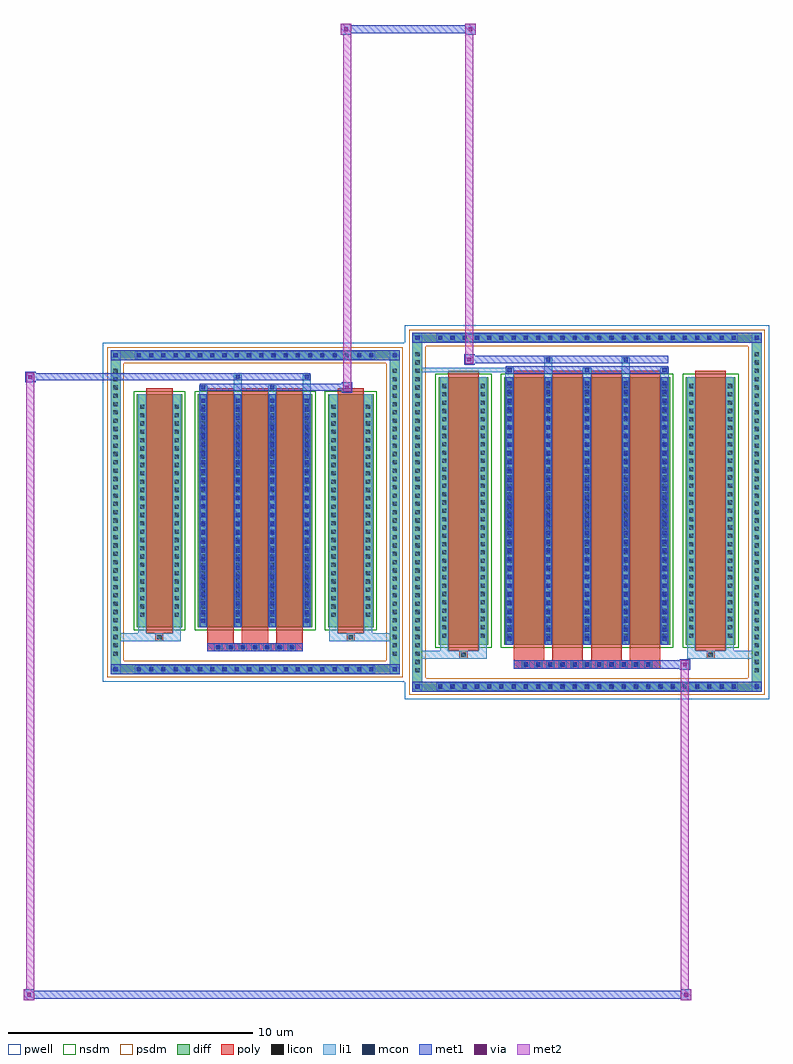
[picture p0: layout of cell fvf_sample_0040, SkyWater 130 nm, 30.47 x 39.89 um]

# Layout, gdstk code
import gdstk
lib = gdstk.Library(unit=1e-6, precision=1e-09)
def R(c, l, rs):  # rectangles x0, y0, x1, y1
    for r in rs: c.add(gdstk.rectangle(r[:2], r[2:], *l))
def A(c, l, x, y, w, h, nx, ny, dx, dy):  # array of equal rectangles
    R(c, l, [(x+i*dx, y+j*dy, x+i*dx+w, y+j*dy+h) for i in range(nx) for j in range(ny)])
def P(c, l, *ps):  # polygons
    for p in ps: c.add(gdstk.Polygon(p, *l))
pwell = (64, 44)
diff = (65, 20)
poly = (66, 20)
licon = (66, 44)
li1 = (67, 20)
mcon = (67, 44)
met1 = (68, 20)
via = (68, 44)
met2 = (69, 20)
nsdm = (93, 44)
psdm = (94, 20)

fvf_sample_0040 = lib.new_cell('fvf_sample_0040')
R(fvf_sample_0040, pwell, [(6.12,-7.64,21.014,7.64), (-6.22,-6.93,6.22,6.93)])
A(fvf_sample_0040, diff, 7.362, -7.33, 0.41, 0.41, 25, 2, 0.5, 14.25)
A(fvf_sample_0040, diff, 6.43, -6.665, 0.41, 0.41, 1, 39, 0, 0.34)
A(fvf_sample_0040, diff, 20.294, -6.665, 0.41, 0.41, 1, 39, 0, 0.34)
A(fvf_sample_0040, diff, -4.955, -6.62, 0.41, 0.41, 20, 2, 0.5, 12.83)
A(fvf_sample_0040, diff, -5.91, -5.985, 0.41, 0.41, 1, 35, 0, 0.34)
A(fvf_sample_0040, diff, 5.5, -5.985, 0.41, 0.41, 1, 35, 0, 0.34)
R(fvf_sample_0040, diff, [(7.362,-7.33,19.772,-6.92), (6.43,-6.665,6.84,6.665), (20.294,-6.665,20.704,6.665), (-4.955,-6.62,4.955,-6.21), (-5.91,-5.985,-5.5,5.985), (5.5,-5.985,5.91,5.985), (7.5,-5.408,9.534,5.524), (10.174,-5.408,16.96,5.524), (17.6,-5.408,19.634,5.524), (-4.84,-4.698,-2.98,4.814), (-2.34,-4.698,2.34,4.814), (2.98,-4.698,4.84,4.814), (-4.955,6.21,4.955,6.62), (7.362,6.92,19.772,7.33)])
P(fvf_sample_0040, diff, [(5.91,6.62),(-5.91,6.62),(-5.91,-6.21),(-5.5,-6.21),(-5.5,6.21),(5.5,6.21),(5.5,-6.21),(-5.5,-6.21),(-5.91,-6.21),(-5.91,-6.62),(5.91,-6.62)],
  [(20.704,7.33),(6.43,7.33),(6.43,-6.92),(6.84,-6.92),(6.84,6.92),(20.294,6.92),(20.294,-6.92),(6.84,-6.92),(6.43,-6.92),(6.43,-7.33),(20.704,-7.33)])
A(fvf_sample_0040, poly, 10.902, -6.39, 0.33, 0.33, 11, 1, 0.5, 0)
A(fvf_sample_0040, poly, 10.564, -6.06, 1.254, 0.402, 4, 1, 1.584, 0)
A(fvf_sample_0040, poly, -1.665, -5.68, 0.33, 0.33, 7, 1, 0.5, 0)
A(fvf_sample_0040, poly, 10.564, -5.658, 1.254, 11.432, 4, 1, 1.584, 0)
A(fvf_sample_0040, poly, -1.95, -5.35, 1.08, 0.402, 3, 1, 1.41, 0)
A(fvf_sample_0040, poly, -1.95, -4.948, 1.08, 10.012, 3, 1, 1.41, 0)
R(fvf_sample_0040, poly, [(10.564,-6.39,16.57,-6.06), (8.352,-5.988,8.682,-5.658), (8.352,-5.988,8.682,-5.658), (18.452,-5.988,18.782,-5.658), (18.452,-5.988,18.782,-5.658), (-1.95,-5.68,1.95,-5.35), (7.89,-5.658,9.144,5.774), (17.99,-5.658,19.244,5.774), (-4.075,-5.278,-3.745,-4.948), (-4.075,-5.278,-3.745,-4.948), (3.745,-5.278,4.075,-4.948), (3.745,-5.278,4.075,-4.948), (-4.45,-4.948,-3.37,5.064), (3.37,-4.948,4.45,5.064)])
A(fvf_sample_0040, licon, 7.482, -7.21, 0.17, 0.17, 25, 2, 0.5, 14.25)
A(fvf_sample_0040, licon, 6.55, -6.545, 0.17, 0.17, 1, 39, 0, 0.34)
A(fvf_sample_0040, licon, 20.414, -6.545, 0.17, 0.17, 1, 39, 0, 0.34)
A(fvf_sample_0040, licon, -4.835, -6.5, 0.17, 0.17, 20, 2, 0.5, 12.83)
A(fvf_sample_0040, licon, 10.982, -6.31, 0.17, 0.17, 11, 1, 0.5, 0)
A(fvf_sample_0040, licon, -5.79, -5.865, 0.17, 0.17, 1, 35, 0, 0.34)
A(fvf_sample_0040, licon, 5.62, -5.865, 0.17, 0.17, 1, 35, 0, 0.34)
A(fvf_sample_0040, licon, -1.585, -5.6, 0.17, 0.17, 7, 1, 0.5, 0)
A(fvf_sample_0040, licon, 7.64, -5.127, 0.17, 0.17, 1, 31, 0, 0.34)
A(fvf_sample_0040, licon, 9.224, -5.127, 0.17, 0.17, 1, 31, 0, 0.34)
A(fvf_sample_0040, licon, 10.314, -5.127, 0.17, 0.17, 5, 31, 1.584, 0.34)
A(fvf_sample_0040, licon, 17.74, -5.127, 0.17, 0.17, 1, 31, 0, 0.34)
A(fvf_sample_0040, licon, 19.324, -5.127, 0.17, 0.17, 1, 31, 0, 0.34)
A(fvf_sample_0040, licon, -4.7, -4.277, 0.17, 0.17, 1, 26, 0, 0.34)
A(fvf_sample_0040, licon, -3.29, -4.277, 0.17, 0.17, 1, 26, 0, 0.34)
A(fvf_sample_0040, licon, -2.2, -4.277, 0.17, 0.17, 4, 26, 1.41, 0.34)
A(fvf_sample_0040, licon, 3.12, -4.277, 0.17, 0.17, 1, 26, 0, 0.34)
A(fvf_sample_0040, licon, 4.53, -4.277, 0.17, 0.17, 1, 26, 0, 0.34)
R(fvf_sample_0040, licon, [(8.432,-5.908,8.602,-5.738), (18.532,-5.908,18.702,-5.738), (-3.995,-5.198,-3.825,-5.028), (3.825,-5.198,3.995,-5.028)])
A(fvf_sample_0040, li1, 7.402, -7.29, 0.33, 0.33, 25, 2, 0.5, 14.25)
A(fvf_sample_0040, li1, 6.47, -6.625, 0.33, 0.33, 1, 39, 0, 0.34)
A(fvf_sample_0040, li1, 20.334, -6.625, 0.33, 0.33, 1, 39, 0, 0.34)
A(fvf_sample_0040, li1, -4.915, -6.58, 0.33, 0.33, 20, 2, 0.5, 12.83)
A(fvf_sample_0040, li1, 10.902, -6.39, 0.33, 0.33, 11, 1, 0.5, 0)
A(fvf_sample_0040, li1, -5.87, -5.945, 0.33, 0.33, 1, 35, 0, 0.34)
A(fvf_sample_0040, li1, 5.54, -5.945, 0.33, 0.33, 1, 35, 0, 0.34)
A(fvf_sample_0040, li1, -1.665, -5.68, 0.33, 0.33, 7, 1, 0.5, 0)
A(fvf_sample_0040, li1, 10.234, -5.408, 0.33, 10.932, 5, 1, 1.584, 0)
A(fvf_sample_0040, li1, 10.314, -5.247, 0.17, 0.17, 5, 30, 1.584, 0.36)
A(fvf_sample_0040, li1, 10.314, -5.247, 0.17, 10.61, 5, 1, 1.584, 0)
A(fvf_sample_0040, li1, 7.56, -5.207, 0.33, 0.33, 1, 31, 0, 0.34)
A(fvf_sample_0040, li1, 9.144, -5.207, 0.33, 0.33, 1, 31, 0, 0.34)
A(fvf_sample_0040, li1, 10.234, -5.207, 0.33, 0.33, 5, 31, 1.584, 0.34)
A(fvf_sample_0040, li1, 17.66, -5.207, 0.33, 0.33, 1, 31, 0, 0.34)
A(fvf_sample_0040, li1, 19.244, -5.207, 0.33, 0.33, 1, 31, 0, 0.34)
A(fvf_sample_0040, li1, -2.28, -4.698, 0.33, 9.512, 4, 1, 1.41, 0)
A(fvf_sample_0040, li1, -2.2, -4.527, 0.17, 0.17, 4, 26, 1.41, 0.36)
A(fvf_sample_0040, li1, -2.2, -4.527, 0.17, 9.17, 4, 1, 1.41, 0)
A(fvf_sample_0040, li1, -4.78, -4.357, 0.33, 0.33, 1, 26, 0, 0.34)
A(fvf_sample_0040, li1, -3.37, -4.357, 0.33, 0.33, 1, 26, 0, 0.34)
A(fvf_sample_0040, li1, -2.28, -4.357, 0.33, 0.33, 4, 26, 1.41, 0.34)
A(fvf_sample_0040, li1, 3.04, -4.357, 0.33, 0.33, 1, 26, 0, 0.34)
A(fvf_sample_0040, li1, 4.45, -4.357, 0.33, 0.33, 1, 26, 0, 0.34)
A(fvf_sample_0040, li1, 10.234, 5.524, 0.33, 0.375, 3, 1, 3.168, 0)
A(fvf_sample_0040, li1, 10.314, 5.729, 0.17, 0.17, 3, 1, 3.168, 0)
R(fvf_sample_0040, li1, [(6.43,-7.33,6.84,-6.92), (20.294,-7.33,20.704,-6.92), (7.402,-7.29,19.732,-6.96), (6.55,-7.21,6.72,-7.04), (6.55,-7.21,6.72,-7.04), (20.414,-7.21,20.584,-7.04), (20.414,-7.21,20.584,-7.04), (6.43,-6.92,6.84,6.92), (20.294,-6.92,20.704,6.92), (-5.91,-6.62,-5.5,-6.21), (5.5,-6.62,5.91,-6.21), (-4.915,-6.58,4.915,-6.25), (-5.79,-6.5,-5.62,-6.33), (-5.79,-6.5,-5.62,-6.33), (5.62,-6.5,5.79,-6.33), (5.62,-6.5,5.79,-6.33), (-5.91,-6.21,-5.5,6.21), (5.5,-6.21,5.91,6.21), (6.43,-5.988,8.352,-5.658), (7.56,-5.988,7.89,-5.408), (7.56,-5.988,8.352,-5.658), (8.352,-5.988,8.682,-5.658), (8.682,-5.988,9.474,-5.658), (9.144,-5.988,9.474,-5.408), (17.66,-5.988,17.99,-5.408), (17.66,-5.988,18.452,-5.658), (18.452,-5.988,18.782,-5.658), (18.452,-5.988,20.704,-5.658), (18.782,-5.988,19.574,-5.658), (19.244,-5.988,19.574,-5.408), (7.56,-5.408,7.89,5.524), (9.144,-5.408,9.474,5.524), (17.66,-5.408,17.99,5.524), (19.244,-5.408,19.574,5.524), (-5.91,-5.278,-4.075,-4.948), (-4.78,-5.278,-4.075,-4.948), (-4.78,-5.278,-4.45,-4.698), (-4.075,-5.278,-3.745,-4.948), (-3.745,-5.278,-3.04,-4.948), (-3.37,-5.278,-3.04,-4.698), (3.04,-5.278,3.745,-4.948), (3.04,-5.278,3.37,-4.698), (3.745,-5.278,4.075,-4.948), (3.745,-5.278,5.91,-4.948), (4.075,-5.278,4.78,-4.948), (4.45,-5.278,4.78,-4.698), (-4.78,-4.698,-4.45,4.814), (-3.37,-4.698,-3.04,4.814), (3.04,-4.698,3.37,4.814), (4.45,-4.698,4.78,4.814), (-2.28,4.814,-1.95,5.189), (-0.87,4.814,-0.54,5.619), (0.54,4.814,0.87,5.189), (1.95,4.814,2.28,5.619), (-2.2,5.019,-2.03,5.189), (0.62,5.019,0.79,5.189), (-0.79,5.449,-0.62,5.619), (2.03,5.449,2.2,5.619), (11.818,5.524,12.148,6.329), (14.986,5.524,15.316,6.329), (10.254,5.669,10.544,5.959), (6.43,5.714,10.254,5.914), (10.314,5.729,10.484,5.899), (11.898,6.159,12.068,6.329), (15.066,6.159,15.236,6.329), (-5.91,6.21,-5.5,6.62), (5.5,6.21,5.91,6.62), (-4.915,6.25,4.915,6.58), (-5.79,6.33,-5.62,6.5), (-5.79,6.33,-5.62,6.5), (5.62,6.33,5.79,6.5), (5.62,6.33,5.79,6.5), (6.43,6.92,6.84,7.33), (20.294,6.92,20.704,7.33), (7.402,6.96,19.732,7.29), (6.55,7.04,6.72,7.21), (6.55,7.04,6.72,7.21), (20.414,7.04,20.584,7.21), (20.414,7.04,20.584,7.21)])
A(fvf_sample_0040, mcon, 7.482, -7.21, 0.17, 0.17, 25, 2, 0.5, 14.25)
A(fvf_sample_0040, mcon, -4.835, -6.5, 0.17, 0.17, 20, 2, 0.5, 12.83)
A(fvf_sample_0040, mcon, 10.982, -6.31, 0.17, 0.17, 11, 1, 0.5, 0)
A(fvf_sample_0040, mcon, -1.585, -5.6, 0.17, 0.17, 7, 1, 0.5, 0)
A(fvf_sample_0040, mcon, 10.314, -5.247, 0.17, 0.17, 5, 30, 1.584, 0.36)
A(fvf_sample_0040, mcon, -2.2, -4.527, 0.17, 0.17, 4, 26, 1.41, 0.36)
A(fvf_sample_0040, mcon, 10.314, 5.729, 0.17, 0.17, 3, 1, 3.168, 0)
R(fvf_sample_0040, mcon, [(6.55,-7.21,6.72,-7.04), (20.414,-7.21,20.584,-7.04), (-5.79,-6.5,-5.62,-6.33), (5.62,-6.5,5.79,-6.33), (-2.2,5.019,-2.03,5.189), (0.62,5.019,0.79,5.189), (-0.79,5.449,-0.62,5.619), (2.03,5.449,2.2,5.619), (10.314,5.729,10.484,5.899), (11.898,6.159,12.068,6.329), (15.066,6.159,15.236,6.329), (-5.79,6.33,-5.62,6.5), (5.62,6.33,5.79,6.5), (6.55,7.04,6.72,7.21), (20.414,7.04,20.584,7.21)])
A(fvf_sample_0040, met1, 7.422, -7.27, 0.29, 0.29, 25, 2, 0.5, 14.25)
A(fvf_sample_0040, met1, -4.895, -6.56, 0.29, 0.29, 20, 2, 0.5, 12.83)
A(fvf_sample_0040, met1, 10.922, -6.37, 0.29, 0.29, 11, 1, 0.5, 0)
A(fvf_sample_0040, met1, -1.645, -5.66, 0.29, 0.29, 7, 1, 0.5, 0)
A(fvf_sample_0040, met1, 10.254, -5.408, 0.29, 10.932, 5, 1, 1.584, 0)
A(fvf_sample_0040, met1, 10.254, -5.307, 0.29, 0.29, 5, 30, 1.584, 0.36)
A(fvf_sample_0040, met1, -2.26, -4.698, 0.29, 9.512, 4, 1, 1.41, 0)
A(fvf_sample_0040, met1, -2.26, -4.587, 0.29, 0.29, 4, 26, 1.41, 0.36)
A(fvf_sample_0040, met1, 10.254, 5.669, 0.29, 0.29, 3, 1, 3.168, 0)
R(fvf_sample_0040, met1, [(-9.455,-19.937,-9.025,-19.507), (17.405,-19.937,17.835,-19.507), (-9.455,-19.887,17.835,-19.557), (-9.455,-19.557,-9.025,-19.507), (17.405,-19.557,17.835,-19.507), (6.43,-7.33,6.84,-6.92), (6.43,-7.33,6.84,-6.92), (6.84,-7.33,20.294,-6.92), (20.294,-7.33,20.704,-6.92), (20.294,-7.33,20.704,-6.92), (6.49,-7.27,6.78,-6.98), (20.354,-7.27,20.644,-6.98), (-5.91,-6.62,-5.5,-6.21), (-5.91,-6.62,-5.5,-6.21), (-5.5,-6.62,5.5,-6.21), (5.5,-6.62,5.91,-6.21), (5.5,-6.62,5.91,-6.21), (-5.85,-6.56,-5.56,-6.27), (5.56,-6.56,5.85,-6.27), (17.355,-6.44,17.785,-6.01), (10.564,-6.39,16.57,-6.06), (16.57,-6.39,17.355,-6.06), (-1.95,-5.68,1.95,-5.35), (3.545,4.889,3.975,5.319), (-2.26,4.959,-1.97,5.249), (-2.26,4.959,2.26,5.249), (0.56,4.959,0.85,5.249), (2.26,4.959,3.545,5.249), (-9.405,5.319,-8.975,5.749), (-8.975,5.389,-2.26,5.679), (-2.26,5.389,2.26,5.679), (-0.85,5.389,-0.56,5.679), (1.97,5.389,2.26,5.679), (10.254,5.669,10.544,5.959), (10.254,5.669,16.88,5.959), (8.539,6.029,8.969,6.459), (8.969,6.099,10.254,6.389), (10.254,6.099,16.88,6.389), (11.838,6.099,12.128,6.389), (15.006,6.099,15.296,6.389), (-5.91,6.21,-5.5,6.62), (-5.91,6.21,-5.5,6.62), (-5.5,6.21,5.5,6.62), (5.5,6.21,5.91,6.62), (5.5,6.21,5.91,6.62), (-5.85,6.27,-5.56,6.56), (5.56,6.27,5.85,6.56), (6.43,6.92,6.84,7.33), (6.43,6.92,6.84,7.33), (6.84,6.92,20.294,7.33), (20.294,6.92,20.704,7.33), (20.294,6.92,20.704,7.33), (6.49,6.98,6.78,7.27), (20.354,6.98,20.644,7.27), (3.495,19.526,3.925,19.956), (8.589,19.526,9.019,19.956), (3.495,19.576,9.019,19.906), (3.495,19.906,3.925,19.956), (8.589,19.906,9.019,19.956)])
R(fvf_sample_0040, via, [(-9.315,-19.797,-9.165,-19.647), (17.545,-19.797,17.695,-19.647), (17.495,-6.3,17.645,-6.15), (3.685,5.029,3.835,5.179), (-9.265,5.459,-9.115,5.609), (8.679,6.169,8.829,6.319), (3.635,19.666,3.785,19.816), (8.729,19.666,8.879,19.816)])
R(fvf_sample_0040, met2, [(-9.455,-19.937,-9.025,-19.507), (-9.355,-19.937,-9.025,5.369), (17.405,-19.937,17.835,-19.507), (17.405,-19.937,17.735,-6.39), (-9.405,-19.887,-9.075,-19.557), (17.455,-19.887,17.785,-19.557), (17.405,-6.39,17.735,-6.06), (3.595,4.939,3.925,5.269), (3.595,5.269,3.925,19.956), (-9.355,5.369,-9.025,5.699), (8.589,6.079,8.919,6.409), (8.589,6.409,8.919,19.956), (3.495,19.526,3.925,19.956), (8.589,19.526,9.019,19.956), (3.545,19.576,3.875,19.906), (8.639,19.576,8.969,19.906)])
R(fvf_sample_0040, nsdm, [(7.37,-5.538,9.664,5.654), (10.044,-5.538,17.09,5.654), (17.47,-5.538,19.764,5.654), (-4.97,-4.828,-2.85,4.944), (-2.47,-4.828,2.47,4.944), (2.85,-4.828,4.97,4.944)])
P(fvf_sample_0040, psdm, [(6.04,6.75),(-6.04,6.75),(-6.04,-6.08),(-5.37,-6.08),(-5.37,6.08),(5.37,6.08),(5.37,-6.08),(-5.37,-6.08),(-6.04,-6.08),(-6.04,-6.75),(6.04,-6.75)],
  [(20.834,7.46),(6.3,7.46),(6.3,-6.79),(6.97,-6.79),(6.97,6.79),(20.164,6.79),(20.164,-6.79),(6.97,-6.79),(6.3,-6.79),(6.3,-7.46),(20.834,-7.46)])

lib.write_gds('fvf_sample_0040.gds')
